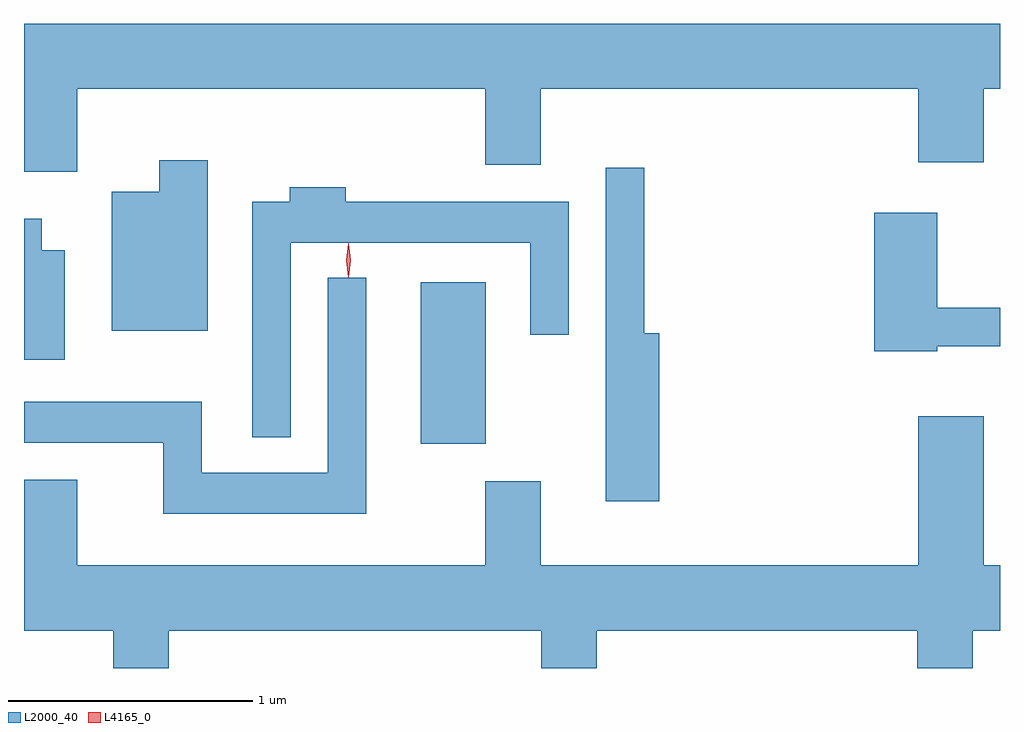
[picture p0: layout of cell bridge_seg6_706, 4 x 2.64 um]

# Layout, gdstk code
import gdstk
lib = gdstk.Library(unit=1e-6, precision=1e-09)
def R(c, l, rs):  # rectangles x0, y0, x1, y1
    for r in rs: c.add(gdstk.rectangle(r[:2], r[2:], *l))
def P(c, l, *ps):  # polygons
    for p in ps: c.add(gdstk.Polygon(p, *l))
L2000_40 = (2000, 40)
L4165_0 = (4165, 0)

bridge_seg6_706 = lib.new_cell('bridge_seg6_706')
R(bridge_seg6_706, L2000_40, [(592.656,1537.481,592.924,1538.144)])
P(bridge_seg6_706, L2000_40, [(591.249,1538.936),(592.921,1538.936),(592.921,1538.626),(593.149,1538.626),(593.149,1538.936),(594.696,1538.936),(594.696,1538.636),(594.964,1538.636),(594.964,1538.936),(595.031,1538.936),(595.031,1539.204),(591.031,1539.204),(591.031,1538.596),(591.249,1538.596)],
  [(591.784,1538.644),(591.586,1538.644),(591.586,1538.514),(591.391,1538.514),(591.391,1537.946),(591.784,1537.946)],
  [(593.634,1537.934),(593.574,1537.934),(593.574,1538.613),(593.416,1538.613),(593.416,1537.246),(593.634,1537.246)],
  [(592.124,1538.306),(593.106,1538.306),(593.106,1537.928),(593.264,1537.928),(593.264,1538.474),(592.349,1538.474),(592.349,1538.534),(592.121,1538.534),(592.121,1538.474),(591.966,1538.474),(591.966,1537.508),(592.124,1537.508)],
  [(594.774,1537.881),(595.031,1537.881),(595.031,1538.039),(594.774,1538.039),(594.774,1538.429),(594.516,1538.429),(594.516,1537.861),(594.774,1537.861)],
  [(591.199,1538.274),(591.104,1538.274),(591.104,1538.404),(591.031,1538.404),(591.031,1537.826),(591.199,1537.826)],
  [(592.434,1538.163),(592.276,1538.163),(592.276,1537.364),(591.759,1537.364),(591.759,1537.654),(591.031,1537.654),(591.031,1537.486),(591.601,1537.486),(591.601,1537.196),(592.434,1537.196)],
  [(591.624,1536.716),(593.151,1536.716),(593.151,1536.561),(593.379,1536.561),(593.379,1536.716),(594.691,1536.716),(594.691,1536.561),(594.919,1536.561),(594.919,1536.716),(595.031,1536.716),(595.031,1536.984),(594.964,1536.984),(594.964,1537.594),(594.696,1537.594),(594.696,1536.984),(593.149,1536.984),(593.149,1537.329),(592.921,1537.329),(592.921,1536.984),(591.249,1536.984),(591.249,1537.334),(591.031,1537.334),(591.031,1536.716),(591.396,1536.716),(591.396,1536.561),(591.624,1536.561)])
P(bridge_seg6_706, L4165_0, [(592.36,1538.164),(592.36,1538.164),(592.351,1538.233),(592.36,1538.302),(592.361,1538.303),(592.361,1538.302),(592.37,1538.233),(592.361,1538.164)])

lib.write_gds('bridge_seg6_706.gds')
